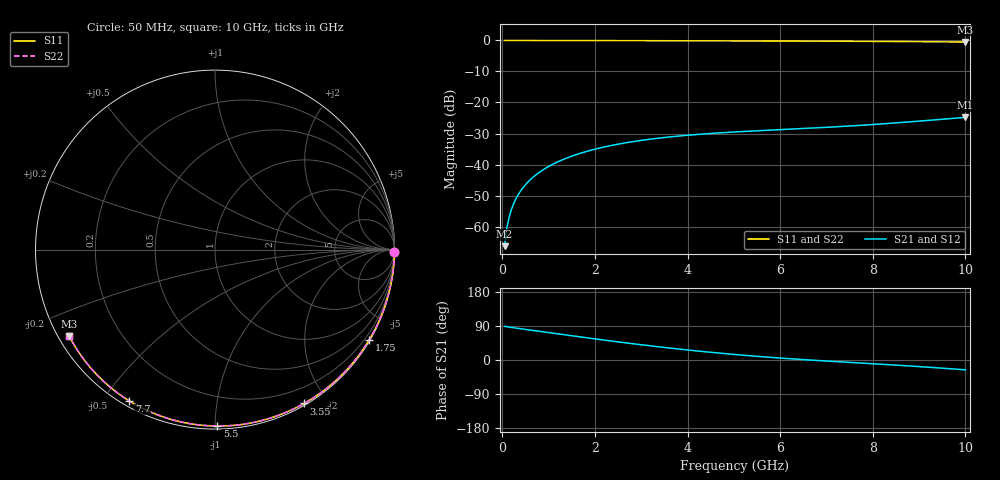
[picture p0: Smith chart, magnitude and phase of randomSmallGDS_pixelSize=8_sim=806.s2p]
! freq	dB(S11)	phase(S11)	dB(S12)	phase(S12)
!  dB(S21)	phase(S21)	dB(S22)	phase(S22)
!S-par simulation data
#  GHz  S  DB  R 50
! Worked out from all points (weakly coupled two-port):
!   200 points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, 50 MHz to 10 GHz, reference 50 ohm
!   highest |S21| = -24.81 dB at 10 GHz (marker M1); lowest = -66.3 dB at 50 MHz (marker M2)
!   lowest |S11| = -0.5 dB at 10 GHz (marker M3), VSWR 34.81, Z = 1.54 - j13.7 ohm
!   |S11| at or under -10 dB: nowhere
!   |S22| runs from -0.5 to 0.0 dB; largest |S21 - S12| = 0
!   S11 on the Smith chart (normalised r, x): 50 MHz: open; 1.75 GHz: 0.03, -3.68; 3.55 GHz: 0.02, -1.73; 5.5 GHz: 0.02, -1.01; 7.7 GHz: 0.02, -0.58; 10 GHz: 0.03, -0.27
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0.05  -0.00 -0.9  -66.32 88.9  -66.32 88.9  -0.00 -0.9
0.1  -0.00 -1.8  -60.32 87.8  -60.32 87.8  -0.00 -1.8
0.15  -0.00 -2.7  -56.82 86.8  -56.82 86.8  -0.00 -2.7
0.2  -0.00 -3.5  -54.35 85.9  -54.35 85.9  -0.00 -3.5
0.25  -0.00 -4.4  -52.43 85.0  -52.43 85.0  -0.00 -4.4
0.35  -0.00 -6.2  -49.55 83.2  -49.55 83.2  -0.00 -6.2
0.5  -0.01 -8.8  -46.50 80.7  -46.50 80.7  -0.01 -8.8
0.7  -0.01 -12.3  -43.64 77.3  -43.64 77.3  -0.01 -12.3
1  -0.02 -17.5  -40.63 72.3  -40.63 72.3  -0.02 -17.5
1.35  -0.03 -23.6  -38.15 66.4  -38.15 66.4  -0.03 -23.6
1.75  -0.04 -30.4  -36.08 59.7  -36.08 59.7  -0.04 -30.4
2.5  -0.06 -43.0  -33.43 47.8  -33.43 47.8  -0.06 -43.0
3.4  -0.08 -57.6  -31.45 34.5  -31.45 34.5  -0.08 -57.6
3.55  -0.08 -59.9  -31.20 32.4  -31.20 32.4  -0.08 -59.9
4.3  -0.10 -71.6  -30.20 22.7  -30.20 22.7  -0.10 -71.6
5.05  -0.13 -82.8  -29.47 14.2  -29.47 14.2  -0.13 -82.8
5.5  -0.15 -89.3  -29.12 9.7  -29.12 9.7  -0.15 -89.3
6.7  -0.21 -106.1  -28.24 -0.5  -28.24 -0.5  -0.21 -106.1
7.7  -0.27 -119.5  -27.40 -7.7  -27.40 -7.7  -0.27 -119.5
8.35  -0.33 -128.0  -26.74 -12.4  -26.74 -12.4  -0.33 -128.0
9.2  -0.41 -139.0  -25.77 -19.0  -25.77 -19.0  -0.41 -139.1
10  -0.50 -149.4  -24.81 -26.0  -24.81 -26.0  -0.50 -149.5
